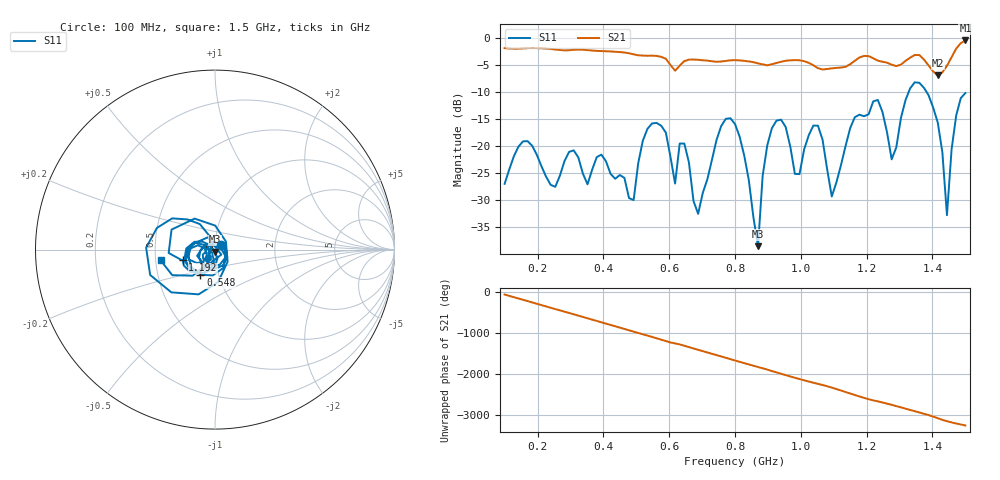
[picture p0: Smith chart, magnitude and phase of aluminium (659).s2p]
! NanoVNA-App
! Date: 2025-09-25 15:00:24
! Start: 100MHz Stop: 1,5GHz Points: 101
! S-Parameter data: F S11 S21 S12 S22
# Hz S RI R 50
!  Frequency  S11_Real  S11_Imag  S21_Real  S21_Imag  S12_Real  S12_Imag  S22_Real  S22_Imag
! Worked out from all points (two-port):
!   101 points, 100 MHz to 1.5 GHz, reference 50 ohm
!   highest |S21| = -0.51 dB at 1.5 GHz (marker M1); lowest = -7.0 dB at 1.416 GHz (marker M2)
!   |S21| within 3 dB of the highest: start of sweep to 574.1 MHz; 1.459 GHz to end of sweep (the widest 2 of 4)
!   lowest |S11| = -38.5 dB at 870 MHz (marker M3), VSWR 1.02, Z = 50.2 - j1.18 ohm
!   |S11| at or under -10 dB: start of sweep to 1.328 GHz; 1.382 GHz to end of sweep
!   S12 and S22 are empty: the file has one direction only
!   S11 on the Smith chart (normalised r, x): 100 MHz: 1.07, +0.06; 548 MHz: 0.82, -0.24; 1.192 GHz: 0.69, -0.08; 1.5 GHz: 0.53, -0.07
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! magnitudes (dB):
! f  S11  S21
! 100 MHz  -27.0  -1.9
! 156 MHz  -19.1  -2.0
! 338 MHz  -25.1  -2.2
! 492 MHz  -29.9  -3.1
! 548 MHz  -15.8  -3.3
! 576 MHz  -16.2  -3.5
! 646 MHz  -19.5  -4.3
! 688 MHz  -32.5  -4.1
! 800 MHz  -15.9  -4.1
! 870 MHz  -38.5  -4.7
! 912 MHz  -16.7  -4.9
! 996 MHz  -25.2  -4.2
! 1.038 GHz  -16.2  -5.1
! 1.094 GHz  -29.3  -5.6
! 1.192 GHz  -14.5  -3.4
! 1.234 GHz  -11.5  -4.2
! 1.276 GHz  -22.4  -5.0
! 1.346 GHz  -8.2  -3.2
! 1.416 GHz  -15.6  -7.0
! 1.444 GHz  -32.7  -5.2
! 1.472 GHz  -14.4  -2.0
! 1.5 GHz  -10.2  -0.5
